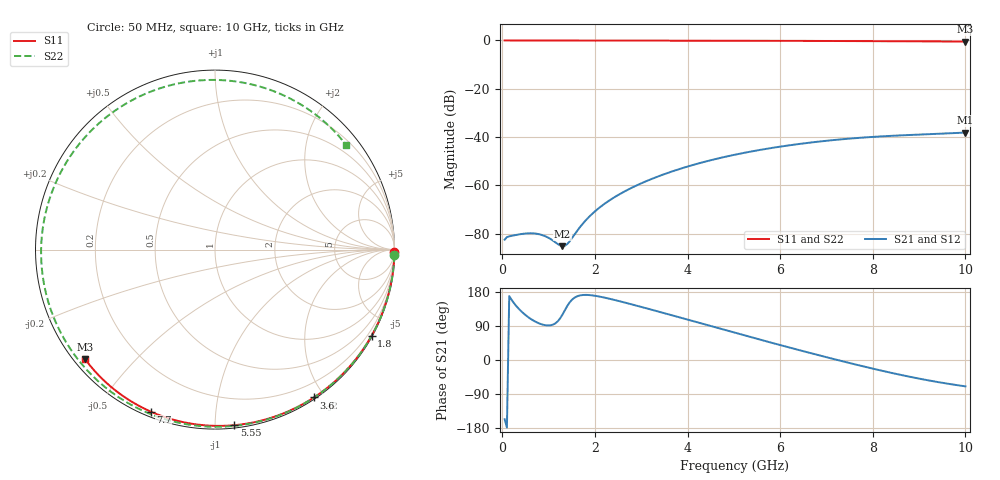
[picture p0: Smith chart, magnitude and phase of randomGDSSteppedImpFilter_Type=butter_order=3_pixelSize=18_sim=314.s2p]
! freq	dB(S11)	phase(S11)	dB(S12)	phase(S12)
!  dB(S21)	phase(S21)	dB(S22)	phase(S22)
!S-par simulation data
#  GHz  S  DB  R 50
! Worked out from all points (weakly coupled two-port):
!   200 points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, 50 MHz to 10 GHz, reference 50 ohm
!   highest |S21| = -38.09 dB at 10 GHz (marker M1); lowest = -85.1 dB at 1.3 GHz (marker M2)
!   lowest |S11| = -0.5 dB at 10 GHz (marker M3), VSWR 36.66, Z = 1.54 - j18.2 ohm
!   |S11| at or under -10 dB: nowhere
!   |S22| runs from -0.6 to 0.0 dB; largest |S21 - S12| = 0
!   S11 on the Smith chart (normalised r, x): 50 MHz: open; 1.8 GHz: 0.03, -3.89; 3.6 GHz: 0.02, -1.87; 5.55 GHz: 0.02, -1.11; 7.7 GHz: 0.02, -0.68; 10 GHz: 0.03, -0.36
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0.05  -0.00 -0.8  -82.43 -156.3  -82.43 -156.3  -0.00 -1.7
0.65  -0.01 -10.5  -79.80 105.7  -79.80 105.7  -0.02 -22.6
1.3  -0.03 -20.9  -85.11 119.8  -85.11 119.8  -0.05 -44.6
1.55  -0.03 -24.9  -80.56 163.7  -80.56 163.7  -0.07 -52.9
1.75  -0.04 -28.0  -75.53 171.6  -75.53 171.6  -0.07 -59.4
1.8  -0.04 -28.8  -74.45 171.8  -74.45 171.8  -0.08 -61.0
2.1  -0.04 -33.5  -69.13 167.4  -69.13 167.4  -0.09 -70.6
2.45  -0.05 -38.9  -64.53 157.7  -64.53 157.7  -0.10 -81.6
3.4  -0.07 -53.3  -56.00 126.9  -56.00 126.9  -0.14 -110.1
3.6  -0.08 -56.2  -54.62 120.2  -54.62 120.2  -0.15 -115.9
4.35  -0.10 -67.1  -50.29 94.8  -50.29 94.8  -0.18 -137.3
5.05  -0.12 -76.9  -47.15 71.0  -47.15 71.0  -0.22 -157.0
5.55  -0.14 -83.8  -45.33 54.3  -45.33 54.3  -0.25 -171.1
6.15  -0.16 -91.8  -43.51 34.5  -43.51 34.5  -0.30 171.5
6.7  -0.19 -99.0  -42.14 16.8  -42.14 16.8  -0.34 155.0
7.2  -0.22 -105.4  -41.12 1.2  -41.12 1.2  -0.38 139.4
7.7  -0.26 -111.7  -40.30 -14.0  -40.30 -14.0  -0.42 123.0
8.35  -0.31 -119.8  -39.51 -32.6  -39.51 -32.6  -0.47 100.4
8.75  -0.34 -124.7  -39.14 -43.1  -39.14 -43.1  -0.50 85.9
9.15  -0.38 -129.6  -38.82 -52.6  -38.82 -52.6  -0.52 71.0
9.55  -0.42 -134.5  -38.51 -61.2  -38.51 -61.2  -0.55 55.8
10  -0.47 -139.9  -38.09 -69.6  -38.09 -69.6  -0.58 38.5
